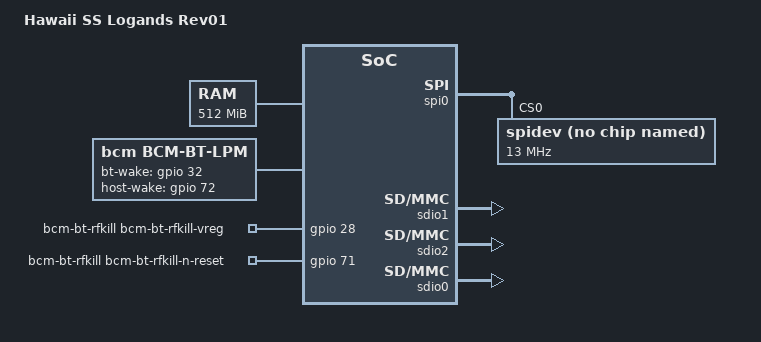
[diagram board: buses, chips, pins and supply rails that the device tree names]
/* Hawaii_ss_logands_rev01 Dts file */

/dts-v1/;

/include/ "bcm_21664.dtsi"

/ {
	model = "Hawaii SS Logands Rev01";
	compatible = "bcm,hawaii";

	chosen {
		bootargs = "console=ttyS2,115200n8 mem=482M gpt androidboot.console=ttyS2 crash_ramdump=1 logbuf_nocache=1";
	};

	memory@81e00000 {
		device_type = "memory";
		reg = <0x81e00000 0x20000000>; /* 480 MB */
	};

	wd-tapper {
		count = <120>; /* Time in seconds */
		ch-num = <1>; /* Kona hub timer Channel number */
		timer-name = "aon-timer";
	};

	usb-phy@0x3F130000 {
		interrupts = <0 128 0x04>;
		chipreg-virtual-mem-base = <0x35004000>;
		usb-ahb-clk-name = "usb_otg_clk";
		mdio-mstr-clk-name = "mdiomaster";
	};
	usb-hsotgctrl@0x3F130000 {
		chipreg-virtual-mem-base = <0x35004000>;
		usb-ahb-clk-name = "usb_otg_clk";
		mdio-mstr-clk-name = "mdiomaster";
	};


	uart@3e000000 {
		clock-frequency = <48000000>;
		port-name = "bluetooth";
		clk-name = "uartb_clk";
	};

	uart@3e001000 {
		clock-frequency = <26000000>;
		port-name = "gps";
		clk-name = "uartb2_clk";
		/*If power-save-enable is set Change
		* PADCTRL_UBRTSN from UART3_RTSN to
		* UBRTSN (Debug UART) when GPS is inactive.*/
		power-save-enable = <1>;
	};

	uart@3e002000 {
		clock-frequency = <26000000>;
		port-name = "console";
		clk-name = "uartb3_clk";
	};

	i2c0: i2c@3e016000 {
		speed = <5>; /* BSC_BUS_SPEED_400 K */
		dynamic-speed = <1>;
		bsc-clk = "bsc1_clk";
		bsc-apb-clk = "bsc1_apb_clk";
		retries = <1>;
		is-pmu-i2c = <0>;
		fs-ref-frequency = <13000000>;
		hs-ref-frequency = <104000000>;
	};

	i2c1: i2c@3e017000 {
		speed = <5>; /* BSC_BUS_SPEED_400 K */
		dynamic-speed = <1>;
		bsc-clk = "bsc2_clk";
		bsc-apb-clk = "bsc2_apb_clk";
		retries = <3>;
		is-pmu-i2c = <0>;
		fs-ref-frequency = <13000000>;
		hs-ref-frequency = <104000000>;
	};

	i2c2: i2c@3e018000 {
		speed = <5>; /* BSC_BUS_SPEED_400 K */
		dynamic-speed = <1>;
		bsc-clk = "bsc3_clk";
		bsc-apb-clk = "bsc3_apb_clk";
		retries = <1>;
		is-pmu-i2c = <0>;
		fs-ref-frequency = <13000000>;
		hs-ref-frequency = <104000000>;
	};

	i2c3: i2c@3e01c000 {
		speed = <5>; /* BSC_BUS_SPEED_400 K */
		dynamic-speed = <1>;
		bsc-clk = "bsc4_clk";
		bsc-apb-clk = "bsc4_apb_clk";
		retries = <1>;
		is-pmu-i2c = <0>;
		fs-ref-frequency = <13000000>;
		hs-ref-frequency = <104000000>;
	};

	i2c4: i2c@3500d000 {
		speed = <7>; /* BSC_BUS_SPEED_HS */
		dynamic-speed = <0>;
		bsc-clk = "pmu_bsc_clk";
		bsc-apb-clk = "pmu_bsc_apb";
		retries = <5>;
		is-pmu-i2c = <1>;
		fs-ref-frequency = <13000000>;
		hs-ref-frequency = <26000000>;
	};
	spi0: spi@0x3E004000 {
		enable-dma = <1>;
		cs-line = <1>;
		mode = <0x23>;

		spidev@0x0 {
			compatible = "bcm,spidev";
			reg = <0x0>;
			spi-max-frequency = <13000000>;
			spi-loop = <0x20>;
		};
	};


	bcm-bt-lpm {
		compatible = "bcm,bcm-bt-lpm";
		bt-wake-gpio = <&gpio 32 0>;
		host-wake-gpio = <&gpio 72 0>;
	};

	bcm-bt-rfkill {
		compatible = "bcm,bcm-bt-rfkill";
		bcm-bt-rfkill-vreg-gpio = <&gpio 28 0>;
		bcm-bt-rfkill-n-reset-gpio = <&gpio 71 0>;
	};

	iommu_mm: iommu-mm {
		compatible = "bcm,iommu-m4u";
		iova_begin  = <0x80000000>;
		iova_size   = <0x80000000>;
		errbuf_size = <0x00001000>;
		skip_enable = <1>;
	};

	iovmm_mm: iovmm-mm {
		compatible = "bcm,iovmm";
		base = <0xc0000000>;
		size = <0x30000000>;
		order = <0>;
	};

	iovmm_mm_256mb: iovmm-mm-256mb {
		compatible = "bcm,iovmm";
		base = <0xf0000000>;
		size = <0x0ff00000>;
		order = <0>;
	};

	ion-config {
		compatible = "bcm,ion-config";
		/* No separate mask needed for hwwr if M4U is enabled */
		mask_hwwr = <0>;
	};

	ion-system {
		compatible = "bcm,ion";
		id = <0>;
		type = <0>;
		iommu = <&iommu_mm>;
		iovmm = <&iovmm_mm_256mb>;
	};

	ion-system-extra {
		compatible = "bcm,ion";
		id = <1>;
		type = <0>;
		iommu = <&iommu_mm>;
		iovmm = <&iovmm_mm>;
	};

	ion-carveout {
		compatible = "bcm,ion";
		id = <9>;
		type = <2>;
		base  = <0x90000000>;
		limit = <0xa0000000>;
		size  = <0x01000000>;
		lmk_enable = <0>;
		lmk_min_score_adj = <411>;
		lmk_min_free = <32>;
		iommu = <&iommu_mm>;
		iovmm = <&iovmm_mm_256mb>;
	};

	ion-cma {
		compatible = "bcm,ion";
		id = <5>;
		type = <4>;
		base  = <0x90000000>;
		limit = <0xa0000000>;
		size  = <0x00000000>;
		lmk_enable = <1>;
		lmk_min_score_adj = <411>;
		lmk_min_free = <32>;
		iommu = <&iommu_mm>;
		iovmm = <&iovmm_mm_256mb>;
	};

	soc-back-camera {
		compatible = "bcm,soc-camera";
		reg = <0x56 0x0>;
		bus-id = <0>;
		i2c-type = "camdrv_ss";	/* i2c_board_info type */
		i2c-addr = <0x56>;	/* i2c_board_info addr */
		i2c-adapter-id = <0>;
		module-name = "camdrv_ss";
		if-type = <1>;		/* V4L2_SUBDEV_SENSOR_SERIAL */
		if-mode = <3>;		/* V4L2_SUBDEV_SENSOR_MODE_SERIAL_CSI2 */
		orientation = <1>;	/* V4L2_SUBDEV_SENSOR_ORIENT_90 */
		facing = <1>;		/* V4L2_SUBDEV_SENSOR_BACK */
		lanes = <2>;
		channel = <0>;
		phy-rate = <0>;
		pix-clk = <0>;
		hs_term_time = <7>;
		hs_settle_time = <0>;
	};

	soc-front-camera {
		compatible = "bcm,soc-camera";
		reg = <0x30 0x0>;
		bus-id = <0>;
		i2c-type = "camdrv_ss_sub";	/* i2c_board_info type */
		i2c-addr = <0x30>;	/* i2c_board_info addr */
		i2c-adapter-id = <0>;
		module-name = "camdrv_ss_sub";
		if-type = <1>;		/* V4L2_SUBDEV_SENSOR_SERIAL */
		if-mode = <3>;		/* V4L2_SUBDEV_SENSOR_MODE_SERIAL_CSI2 */
		orientation = <3>;	/* V4L2_SUBDEV_SENSOR_ORIENT_270 */
		facing = <0>;		/* V4L2_SUBDEV_SENSOR_FRONT */
		lanes = <1>;
		channel = <1>;
		phy-rate = <0>;
		pix-clk = <0>;
		hs_term_time = <7>;
		hs_settle_time = <0>;
	};

	kona-fb {
		module-name = "NT35510";
		reg-name = "cam2";
		rst-gpio = <22>;
		rst-setup = <5>;	/* 5us */
		rst-pulse = <20>;	/* 20us */
		rst-hold = <10000>;	/* 10ms */
		/* rst-active-high */	/* Commented => Active Low */
		/* vburst = <0>; */	/* Non-burst mode */
		cmnd-LP;		/* Commands in LP mode*/
		/* te-ctrl; */		/* Tearing Effect Control disabled */
		col-mod-i = <3>;
		col-mod-o = <2>;
		width = <480>;
		height = <800>;
		fps = <60>;
		lanes = <2>;
		hs-bitrate = <500000000>;
		lp-bitrate = <5000000>;	/* 5mbps */
		iommu = <&iommu_mm>;
		iovmm = <&iovmm_mm>;
		rotation = <0>;
	};


	tmon@0x34008000 {
		compatible = "bcm,tmon";
		reg = <0x34008000 0x1000>;
		interrupts = <0 183 4>;
		chipreg_addr = <0x35004000 0x1000>;
		thold_size = <8>; /*number of threshold levels*/
		poll_rate_ms = <10000>;
		hysteresis = <0>;
		flags = <1>;
		interval_ms = <5>;
		/*sw shdwn temp is 120*/
		thold = <55 1
			58 1
			63 1
			65 1
			70 1
			80 1
			115 4
			120 2>;
		tmon_apb_clk = "tmon_apb";
		tmon_1m_clk = "tmon_1m_clk";
		falling = <5>;
	};

	memc@35008000 {
		compatible = "bcm,memc";
		reg = <0x35008000 0x1000>;
		flags = <0x33>;
		chipreg_base = <0x35004000 0x1000>;
		memc0_aphy_base = <0x35008400 0x1000>;
		seq_busy_val = <2>;
		max_pwr = <3>;
	};

	sdio1 {
		compatible = "bcm,sdhci";
		reg = <0x3F190000 10000>;
		interrupts = <0 76 0x04>;
		id = <1>;
		data-pullup = <0>;
		is-8bit = <1>;
		devtype = <2>;		/*SDIO_DEV_TYPE_EMMC*/
		flags = <3>;		/*NON_REMOVABLE | RPM_EN*/
		pm_caps = <1>;		/*MMC_PM_KEEP_POWER*/
		peri-clk-name = "sdio2_clk";
		ahb-clk-name = "sdio2_ahb_clk";
		sleep-clk-name = "sdio2_sleep_clk";
		peri-clk-rate = <52000000>;

	};

	sdio2 {
		compatible = "bcm,sdhci";
		reg = <0x3F1A0000 10000>;
		interrupts = <0 74 0x04>;
		id = <2>;
		data-pullup = <0>;
		devtype = <1>;		/*SDIO_DEV_TYPE_WIFI*/
		flags = <2>;		/*REMOVABLE | RPM_EN*/
		peri-clk-name = "sdio3_clk";
		ahb-clk-name = "sdio3_ahb_clk";
		sleep-clk-name = "sdio3_sleep_clk";
		peri-clk-rate = <48000000>;
	};

	sdio0 {
		compatible = "bcm,sdhci";
		reg = <0x3F180000 10000>;
		interrupts = <0 77 0x04>;
		id = <0>;
		data-pullup = <0>;
		cd-gpio = <&gpio 91 0>;		/*SD_CARDDET_GPIO_PIN*/
		devtype = <0>;		/*SDIO_DEV_TYPE_SDMMC*/
		flags = <2>;		/*REMOVABLE | RPM_EN*/
		peri-clk-name = "sdio1_clk";
		ahb-clk-name = "sdio1_ahb_clk";
		sleep-clk-name = "sdio1_sleep_clk";
		peri-clk-rate = <48000000>;
		vddo-regulator-name = "vdd_sdio";
		vddsdxc-regulator-name = "vdd_sdxc";
	};

	wifi-driver {
		compatible = "bcm,bcm_wifi";
		wl-reset-gpio = <3>;
		host-wake-gpio = <74>;
		board-nvram-file = "/system/vendor/firmware/fw_wifi_nvram_4330.txt";
		module-name = "bcmdhd_4330";
	};

	keypad {
		row-num = <1>;
		col-num = <4>;
		row-col-count = <8>;
		key-name = "unused", "Vol Down Key", "unused", "Vol Up Key",
			"unused", "unused", "unused", "unused", "unused",
			"unused", "unused", "unused", "unused", "unused",
			"unused", "unused", "unused", "unused", "unused",
			"unused", "unused", "unused", "unused", "unused",
			"unused", "unused", "unused", "unused", "unused",
			"unused", "unused", "unused", "unused", "unused",
			"unused", "unused", "unused", "unused", "unused",
			"unused", "unused", "unused", "unused", "unused",
			"unused", "unused", "unused", "unused", "unused",
			"unused", "unused", "unused", "unused", "unused",
			"unused", "unused", "unused", "unused", "unused",
			"unused", "unused", "unused", "unused", "unused";
		key-code = <0 114 0 115 0 0 0 0
			0 0 0 0 0 0 0 0
			0 0 0 0 0 0 0 0
			0 0 0 0 0 0 0 0
			0 0 0 0 0 0 0 0
			0 0 0 0 0 0 0 0
			0 0 0 0 0 0 0 0
			0 0 0 0 0 0 0 0>;
	};
};
